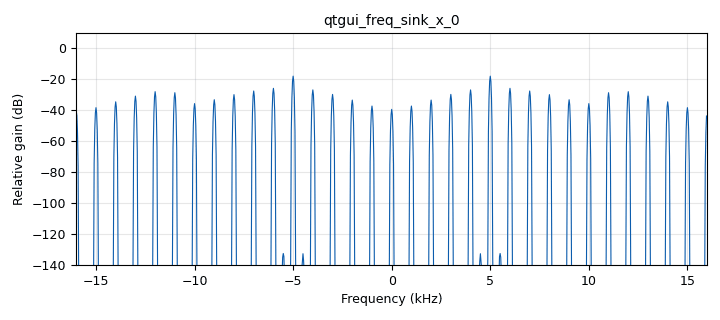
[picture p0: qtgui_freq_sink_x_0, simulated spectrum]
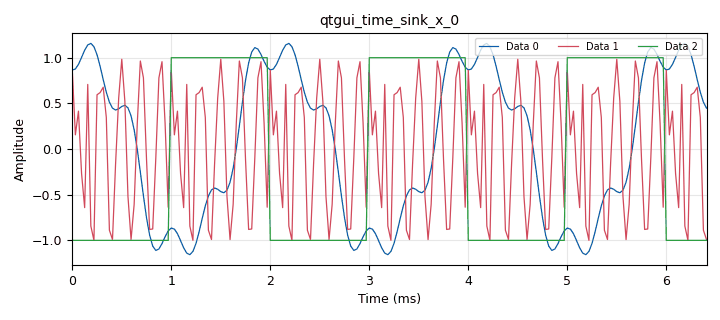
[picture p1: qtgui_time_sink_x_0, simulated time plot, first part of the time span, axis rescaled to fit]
<?xml version='1.0' encoding='utf-8'?>
<flow_graph>
<block>
<key>analog_nbfm_rx</key>
<param><key>id</key><value>analog_nbfm_rx_0</value></param>
<param><key>audio_rate</key><value>samp_rate</value></param>
<param><key>quad_rate</key><value>samp_rate</value></param>
<param><key>tau</key><value>75e-6</value></param>
<param><key>max_dev</key><value>5e3</value></param>
</block>
<block>
<key>variable</key>
<param><key>id</key><value>samp_rate</value></param>
<param><key>value</key><value>32000</value></param>
</block>
<block>
<key>analog_nbfm_tx</key>
<param><key>id</key><value>analog_nbfm_tx_0</value></param>
<param><key>audio_rate</key><value>samp_rate</value></param>
<param><key>quad_rate</key><value>samp_rate</value></param>
<param><key>tau</key><value>75e-6</value></param>
<param><key>max_dev</key><value>5e3</value></param>
</block>
<block>
<key>blocks_complex_to_float</key>
<param><key>id</key><value>blocks_complex_to_float_0</value></param>
</block>
<block>
<key>qtgui_freq_sink_x</key>
<param><key>id</key><value>qtgui_freq_sink_x_0</value></param>
<param><key>type</key><value>float</value></param>
<param><key>fftsize</key><value>1024</value></param>
<param><key>wintype</key><value>firdes.WIN_BLACKMAN_hARRIS</value></param>
<param><key>fc</key><value>0</value></param>
<param><key>bw</key><value>samp_rate</value></param>
</block>
<block>
<key>qtgui_time_sink_x</key>
<param><key>id</key><value>qtgui_time_sink_x_0</value></param>
<param><key>type</key><value>float</value></param>
<param><key>size</key><value>1024</value></param>
<param><key>srate</key><value>samp_rate</value></param>
<param><key>nconnections</key><value>3</value></param>
</block>
<block>
<key>options</key>
<param><key>id</key><value>top_block</value></param>
<param><key>generate_options</key><value>qt_gui</value></param>
<param><key>category</key><value>Custom</value></param>
</block>
<block>
<key>analog_sig_source_x</key>
<param><key>id</key><value>analog_sig_source_x_0</value></param>
<param><key>type</key><value>float</value></param>
<param><key>samp_rate</key><value>samp_rate</value></param>
<param><key>waveform</key><value>analog.GR_SQR_WAVE</value></param>
<param><key>freq</key><value>500</value></param>
<param><key>amp</key><value>2</value></param>
<param><key>offset</key><value>-1</value></param>
</block>
<connection><source_block_id>analog_nbfm_rx_0</source_block_id><sink_block_id>qtgui_time_sink_x_0</sink_block_id><source_key>0</source_key><sink_key>0</sink_key></connection>
<connection><source_block_id>analog_nbfm_tx_0</source_block_id><sink_block_id>analog_nbfm_rx_0</sink_block_id><source_key>0</source_key><sink_key>0</sink_key></connection>
<connection><source_block_id>analog_nbfm_tx_0</source_block_id><sink_block_id>blocks_complex_to_float_0</sink_block_id><source_key>0</source_key><sink_key>0</sink_key></connection>
<connection><source_block_id>analog_sig_source_x_0</source_block_id><sink_block_id>analog_nbfm_tx_0</sink_block_id><source_key>0</source_key><sink_key>0</sink_key></connection>
<connection><source_block_id>analog_sig_source_x_0</source_block_id><sink_block_id>qtgui_time_sink_x_0</sink_block_id><source_key>0</source_key><sink_key>2</sink_key></connection>
<connection><source_block_id>blocks_complex_to_float_0</source_block_id><sink_block_id>qtgui_freq_sink_x_0</sink_block_id><source_key>0</source_key><sink_key>0</sink_key></connection>
<connection><source_block_id>blocks_complex_to_float_0</source_block_id><sink_block_id>qtgui_time_sink_x_0</sink_block_id><source_key>0</source_key><sink_key>1</sink_key></connection>
</flow_graph>
